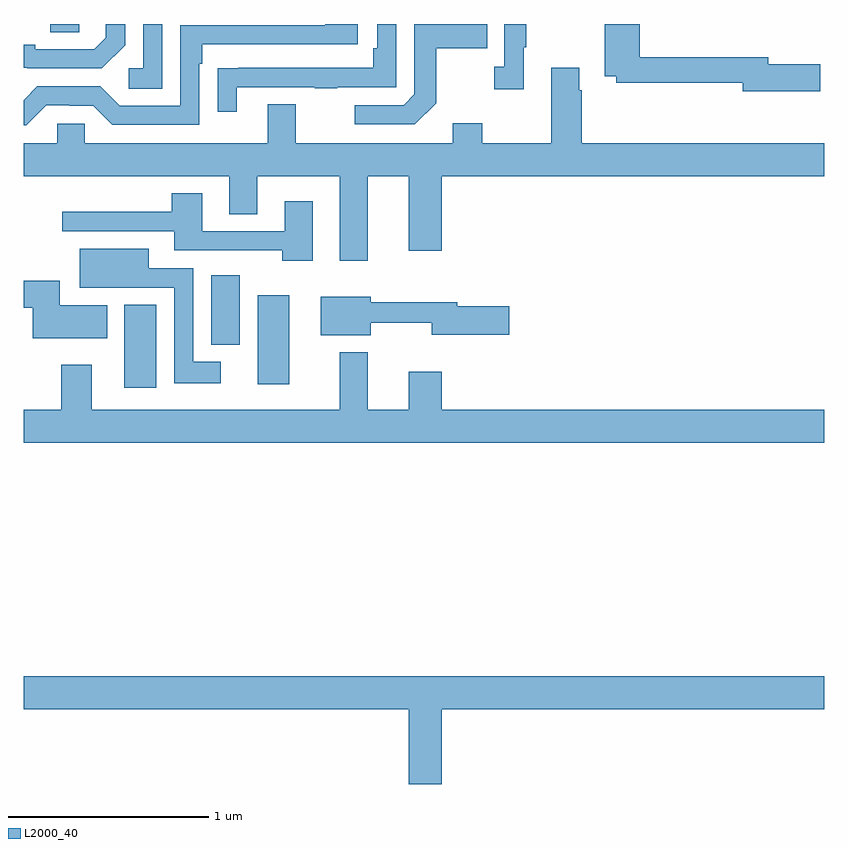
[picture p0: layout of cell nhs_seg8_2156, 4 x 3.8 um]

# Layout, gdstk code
import gdstk
lib = gdstk.Library(unit=1e-6, precision=1e-09)
def R(c, l, rs):  # rectangles x0, y0, x1, y1
    for r in rs: c.add(gdstk.rectangle(r[:2], r[2:], *l))
def P(c, l, *ps):  # polygons
    for p in ps: c.add(gdstk.Polygon(p, *l))
L2000_40 = (2000, 40)

nhs_seg8_2156 = lib.new_cell('nhs_seg8_2156')
R(nhs_seg8_2156, L2000_40, [(247.502,1142.082,247.663,1142.497), (248.168,1142.1,248.326,1142.545), (247.937,1142.297,248.08,1142.644), (247.133,1143.859,247.278,1143.9)])
P(nhs_seg8_2156, L2000_40, [(249.499,1143.785),(249.511,1143.785),(249.511,1143.9),(249.402,1143.9),(249.402,1143.686),(249.351,1143.686),(249.351,1143.573),(249.499,1143.573)],
  [(250.981,1143.698),(250.72,1143.698),(250.72,1143.734),(250.079,1143.734),(250.079,1143.9),(249.904,1143.9),(249.904,1143.638),(249.96,1143.638),(249.96,1143.606),(250.592,1143.606),(250.592,1143.563),(250.981,1143.563)],
  [(247.113,1143.495),(247.229,1143.495),(247.229,1143.492),(247.347,1143.492),(247.443,1143.396),(247.878,1143.396),(247.878,1143.701),(247.891,1143.701),(247.891,1143.798),(248.668,1143.798),(248.668,1143.9),(248.507,1143.9),(248.507,1143.894),(247.782,1143.894),(247.782,1143.492),(247.479,1143.492),(247.383,1143.588),(247.068,1143.588),(247,1143.52),(247,1143.395),(247.013,1143.395)],
  [(247.692,1143.9),(247.596,1143.9),(247.596,1143.678),(247.524,1143.678),(247.524,1143.577),(247.692,1143.577)],
  [(247.506,1143.794),(247.506,1143.9),(247.409,1143.9),(247.409,1143.831),(247.352,1143.774),(247.057,1143.774),(247.057,1143.797),(247,1143.797),(247,1143.681),(247.018,1143.681),(247.018,1143.678),(247.39,1143.678)],
  [(248.065,1143.585),(248.455,1143.585),(248.455,1143.58),(248.567,1143.58),(248.567,1143.585),(248.862,1143.585),(248.862,1143.9),(248.766,1143.9),(248.766,1143.778),(248.746,1143.778),(248.746,1143.681),(248.071,1143.681),(248.071,1143.68),(247.969,1143.68),(247.969,1143.462),(248.065,1143.462)],
  [(249.061,1143.505),(249.061,1143.778),(249.317,1143.778),(249.317,1143.9),(248.952,1143.9),(248.952,1143.549),(248.898,1143.495),(248.655,1143.495),(248.655,1143.399),(248.955,1143.399)],
  [(248.719,1143.14),(248.924,1143.14),(248.924,1142.766),(249.088,1142.766),(249.088,1143.14),(251,1143.14),(251,1143.304),(249.788,1143.304),(249.788,1143.569),(249.775,1143.569),(249.775,1143.682),(249.635,1143.682),(249.635,1143.304),(249.291,1143.304),(249.291,1143.403),(249.143,1143.403),(249.143,1143.304),(248.359,1143.304),(248.359,1143.499),(248.219,1143.499),(248.219,1143.304),(247.305,1143.304),(247.305,1143.402),(247.167,1143.402),(247.167,1143.304),(247,1143.304),(247,1143.14),(248.027,1143.14),(248.027,1142.95),(248.167,1142.95),(248.167,1143.14),(248.579,1143.14),(248.579,1142.718),(248.719,1142.718)],
  [(248.443,1143.013),(248.303,1143.013),(248.303,1142.865),(247.891,1142.865),(247.891,1143.055),(247.739,1143.055),(247.739,1142.962),(247.191,1142.962),(247.191,1142.865),(247.751,1142.865),(247.751,1142.769),(248.291,1142.769),(248.291,1142.718),(248.443,1142.718)],
  [(247.984,1142.212),(247.848,1142.212),(247.848,1142.679),(247.624,1142.679),(247.624,1142.776),(247.28,1142.776),(247.28,1142.582),(247.506,1142.582),(247.506,1142.583),(247.752,1142.583),(247.752,1142.105),(247.984,1142.105)],
  [(247.417,1142.494),(247.18,1142.494),(247.18,1142.618),(247,1142.618),(247,1142.483),(247.046,1142.483),(247.046,1142.33),(247.417,1142.33)],
  [(248.734,1142.407),(249.038,1142.407),(249.038,1142.347),(249.427,1142.347),(249.427,1142.489),(249.166,1142.489),(249.166,1142.51),(248.734,1142.51),(248.734,1142.536),(248.483,1142.536),(248.483,1142.345),(248.734,1142.345)],
  [(251,1141.972),(249.088,1141.972),(249.088,1142.161),(248.924,1142.161),(248.924,1141.972),(248.719,1141.972),(248.719,1142.26),(248.579,1142.26),(248.579,1141.972),(247.339,1141.972),(247.339,1142.197),(247.187,1142.197),(247.187,1141.972),(247,1141.972),(247,1141.808),(251,1141.808)],
  [(249.088,1140.476),(251,1140.476),(251,1140.64),(247,1140.64),(247,1140.476),(248.924,1140.476),(248.924,1140.102),(249.088,1140.102)])

lib.write_gds('nhs_seg8_2156.gds')
